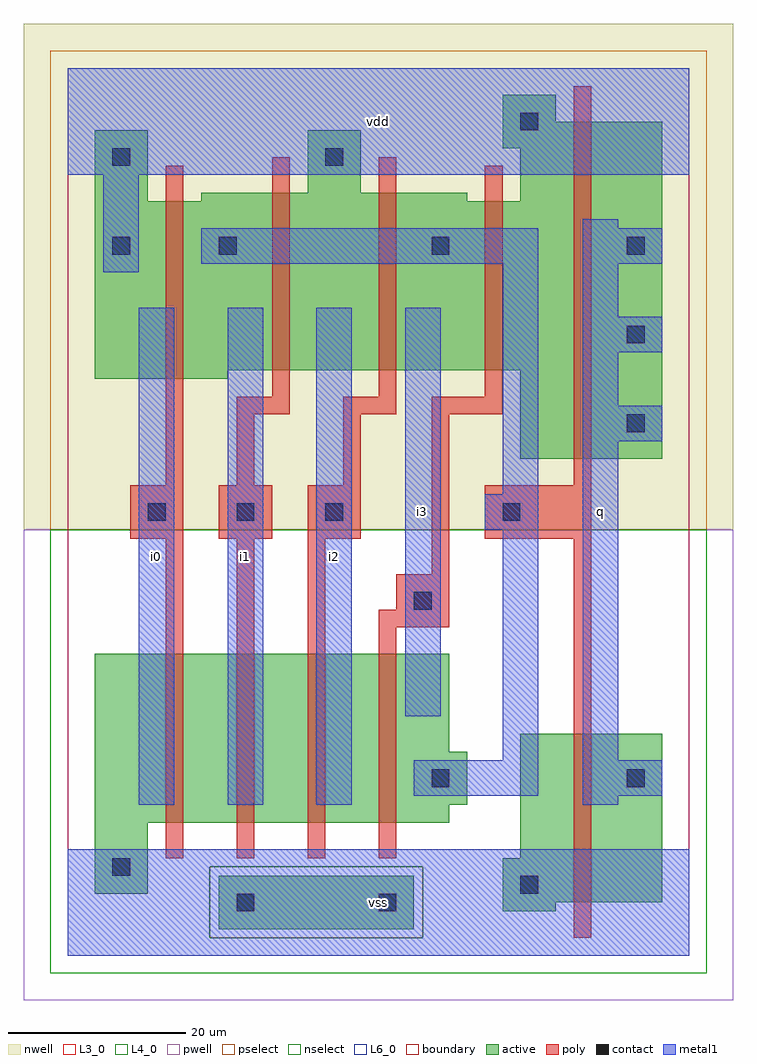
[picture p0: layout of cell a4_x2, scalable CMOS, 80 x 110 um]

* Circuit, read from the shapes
.subckt a4_x2 i0 i1 i2 i3 q vdd vss
M1 n1 i0 vss vss nfet w=19u l=2u
M2 n2 i1 n1 vss nfet w=19u l=2u
M3 n3 i2 n2 vss nfet w=19u l=2u
M4 n4 i3 n3 vss nfet w=19u l=2u
M5 q n4 vss vss nfet w=19u l=2u
M6 n4 i0 vdd n5 pfet w=20u l=2u
M7 vdd i1 n4 n5 pfet w=20u l=2u
M8 n4 i2 vdd n5 pfet w=20u l=2u
M9 vdd i3 n4 n5 pfet w=19u l=2u
M10 q n4 vdd n5 pfet w=38u l=2u
.ends

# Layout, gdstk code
import gdstk
lib = gdstk.Library(unit=1e-6, precision=1e-09)
def R(c, l, rs):  # rectangles x0, y0, x1, y1
    for r in rs: c.add(gdstk.rectangle(r[:2], r[2:], *l))
def A(c, l, x, y, w, h, nx, ny, dx, dy):  # array of equal rectangles
    R(c, l, [(x+i*dx, y+j*dy, x+i*dx+w, y+j*dy+h) for i in range(nx) for j in range(ny)])
L3_0 = (3, 0)
L4_0 = (4, 0)
L6_0 = (6, 0)
contact = (25, 0)
pwell = (41, 0)
nwell = (42, 0)
active = (43, 0)
pselect = (44, 0)
nselect = (45, 0)
poly = (46, 0)
metal1 = (49, 0)
boundary = (63, 0)

a4_x2 = lib.new_cell('a4_x2')
R(a4_x2, L3_0, [(49,5,55,6), (49,6,67,11), (3,7,9,15), (51,11,67,25), (3,15,43,17), (3,17,45,23), (3,23,43,34)])
R(a4_x2, L4_0, [(51,56,67,66), (3,65,18,66), (3,66,67,85), (3,85,9,93), (15,85,45,86), (51,85,67,91), (27,86,33,93), (49,91,67,94), (49,94,55,97)])
R(a4_x2, L6_0, [(17,3,39,9)])
A(a4_x2, contact, 9, 49, 2, 2, 3, 1, 10, 0)
A(a4_x2, contact, 63, 59, 2, 2, 1, 3, 0, 10)
R(a4_x2, contact, [(19,5,21,7), (35,5,37,7), (51,7,53,9), (5,9,7,11), (41,19,43,21), (63,19,65,21), (39,39,41,41), (49,49,51,51), (5,79,7,81), (17,79,19,81), (41,79,43,81), (5,89,7,91), (29,89,31,91), (51,93,53,95)])
R(a4_x2, pwell, [(-5,-5,75,48)])
R(a4_x2, nwell, [(-5,48,75,105)])
R(a4_x2, active, [(17,3,39,9), (49,5,55,6), (49,6,67,11), (3,7,9,15), (51,11,67,25), (3,15,43,17), (3,17,45,23), (3,23,43,34), (51,56,67,66), (3,65,18,66), (3,66,67,85), (3,85,9,93), (15,85,45,86), (51,85,67,91), (27,86,33,93), (49,91,67,94), (49,94,55,97)])
R(a4_x2, pselect, [(16,2,40,10), (-2,48,72,102)])
R(a4_x2, nselect, [(-2,-2,72,2), (-2,2,16,10), (40,2,72,10), (-2,10,72,48)])
A(a4_x2, poly, 11, 11, 2, 36, 3, 1, 8, 0)
A(a4_x2, poly, 7, 47, 6, 6, 3, 1, 10, 0)
R(a4_x2, poly, [(57,2,59,47), (35,11,37,37), (35,37,43,39), (37,39,43,43), (41,43,43,61), (47,47,59,53), (11,53,13,89), (19,53,21,61), (31,53,33,61), (57,53,59,98), (19,61,25,63), (31,61,37,63), (41,61,49,63), (23,63,25,90), (35,63,37,90), (47,63,49,89)])
A(a4_x2, metal1, 8, 17, 4, 56, 3, 1, 10, 0)
A(a4_x2, metal1, 58, 58, 9, 4, 1, 3, 0, 10)
R(a4_x2, metal1, [(0,0,70,12), (58,17,62,18), (39,18,53,22), (58,18,67,22), (49,22,53,48), (58,22,62,58), (38,27,42,73), (47,48,53,52), (49,52,53,78), (58,62,62,68), (58,72,62,78), (4,77,8,88), (15,78,53,82), (58,82,62,83), (0,88,70,100)])
R(a4_x2, boundary, [(0,0,70,100)])
a4_x2.add(gdstk.Label('i0', (10,45), layer=49, texttype=0))
a4_x2.add(gdstk.Label('i1', (20,45), layer=49, texttype=0))
a4_x2.add(gdstk.Label('i2', (30,45), layer=49, texttype=0))
a4_x2.add(gdstk.Label('vss', (35,6), layer=49, texttype=0))
a4_x2.add(gdstk.Label('i3', (40,50), layer=49, texttype=0))
a4_x2.add(gdstk.Label('vdd', (35,94), layer=49, texttype=0))
a4_x2.add(gdstk.Label('q', (60,50), layer=49, texttype=0))

lib.write_gds('a4_x2.gds')
